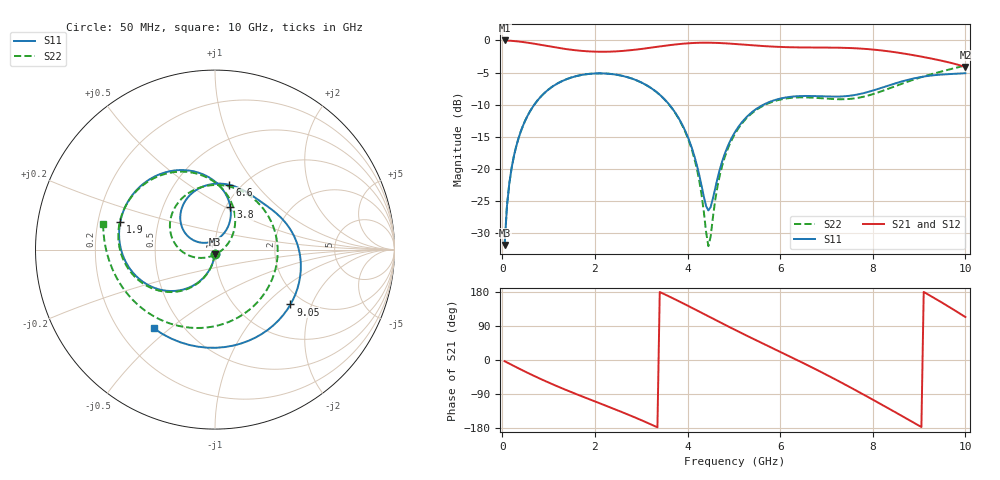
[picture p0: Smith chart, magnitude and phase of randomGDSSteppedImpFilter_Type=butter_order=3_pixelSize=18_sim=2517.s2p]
! freq	dB(S11)	phase(S11)	dB(S12)	phase(S12)
!  dB(S21)	phase(S21)	dB(S22)	phase(S22)
!S-par simulation data
#  GHz  S  DB  R 50
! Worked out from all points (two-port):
!   200 points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, 50 MHz to 10 GHz, reference 50 ohm
!   highest |S21| = -0.01 dB at 50 MHz (marker M1); lowest = -4.1 dB at 10 GHz (marker M2)
!   |S21| within 3 dB of the highest: start of sweep to 9.389 GHz
!   lowest |S11| = -31.8 dB at 50 MHz (marker M3), VSWR 1.05, Z = 49.8 - j2.55 ohm
!   |S11| at or under -10 dB: start of sweep to 691.6 MHz; 3.606 GHz to 5.639 GHz (2.032 GHz wide, 44 % of centre)
!   |S22| runs from -32.0 to -3.9 dB; largest |S21 - S12| = 0
!   S11 on the Smith chart (normalised r, x): 50 MHz: 1.00, -0.05; 1.9 GHz: 0.30, +0.13; 3.8 GHz: 1.05, +0.53; 6.6 GHz: 0.88, +0.74; 9.05 GHz: 1.70, -1.42; 10 GHz: 0.35, -0.44
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0.05  -31.84 -93.2  -0.01 -3.2  -0.01 -3.2  -31.84 -93.1
0.1  -25.84 -96.6  -0.02 -6.4  -0.02 -6.4  -25.84 -96.4
0.2  -19.91 -103.2  -0.06 -12.7  -0.06 -12.7  -19.90 -102.8
0.5  -12.40 -122.0  -0.30 -31.1  -0.30 -31.1  -12.40 -121.1
1.05  -7.35 -153.6  -0.97 -62.2  -0.97 -62.2  -7.35 -151.8
1.75  -5.33 170.8  -1.65 -97.4  -1.65 -97.4  -5.32 173.6
1.9  -5.19 163.6  -1.72 -104.6  -1.72 -104.6  -5.19 166.5
2.7  -5.72 125.1  -1.57 -143.2  -1.57 -143.2  -5.71 128.3
3.4  -8.45 89.8  -0.94 179.5  -0.94 179.5  -8.47 90.5
3.8  -11.99 70.1  -0.58 155.9  -0.58 155.9  -12.07 65.3
4.2  -19.37 60.9  -0.38 131.1  -0.38 131.1  -19.94 32.2
4.45  -26.46 107.9  -0.35 115.4  -0.35 115.4  -32.02 -54.3
4.7  -19.99 155.6  -0.41 99.7  -0.41 99.7  -20.87 -149.1
5.05  -13.97 149.5  -0.56 78.0  -0.56 78.0  -14.22 -179.7
5.85  -9.36 111.7  -0.97 30.4  -0.97 30.4  -9.51 126.7
6.6  -8.64 77.5  -1.10 -14.2  -1.10 -14.2  -8.88 73.3
6.7  -8.66 73.4  -1.11 -20.3  -1.11 -20.3  -8.91 65.4
7.6  -8.51 41.5  -1.21 -77.8  -1.21 -77.8  -9.03 -17.1
8.35  -6.99 9.6  -1.70 -128.5  -1.70 -128.5  -7.48 -87.4
9.05  -5.68 -36.0  -2.52 -176.8  -2.52 -176.8  -5.71 -139.4
9.6  -5.26 -84.3  -3.34 143.7  -3.34 143.7  -4.61 -171.9
10  -5.11 -127.9  -4.13 113.4  -4.13 113.4  -3.89 167.3
